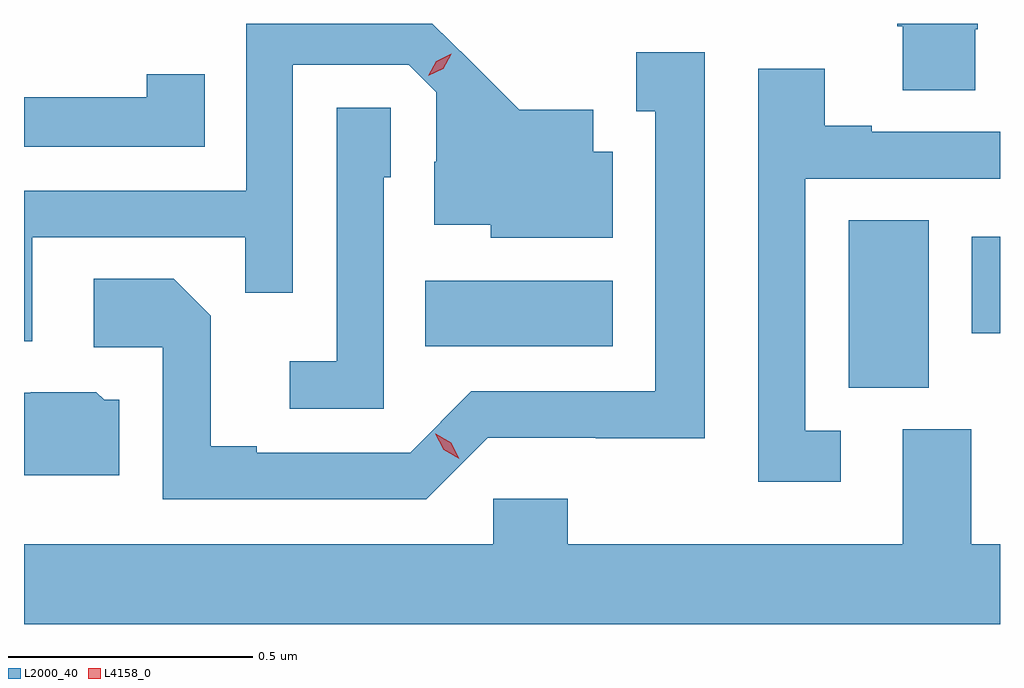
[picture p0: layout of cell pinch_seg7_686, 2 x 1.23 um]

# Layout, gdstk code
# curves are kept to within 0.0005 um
import gdstk
lib = gdstk.Library(unit=1e-6, precision=1e-09)
def R(c, l, rs):  # rectangles x0, y0, x1, y1
    for r in rs: c.add(gdstk.rectangle(r[:2], r[2:], *l))
def P(c, l, *ps):  # polygons
    for p in ps: c.add(gdstk.Polygon(p, *l))
L2000_40 = (2000, 40)
L4158_0 = (4158, 0)

pinch_seg7_686 = lib.new_cell('pinch_seg7_686')
R(pinch_seg7_686, L2000_40, [(137.792,1009.093,137.956,1009.436), (136.924,1009.178,137.308,1009.312), (138.044,1009.205,138.102,1009.402)])
P(pinch_seg7_686, L2000_40, [(138.051,1009.827),(138.056,1009.827),(138.056,1009.839),(137.891,1009.839),(137.891,1009.834),(137.903,1009.834),(137.903,1009.702),(138.051,1009.702)],
  [(136.119,1009.401),(136.555,1009.401),(136.555,1009.288),(136.653,1009.288),(136.653,1009.755),(136.89,1009.755),(136.947,1009.698),(136.947,1009.556),(136.943,1009.556),(136.943,1009.427),(137.058,1009.427),(137.058,1009.4),(137.308,1009.4),(137.308,1009.576),(137.269,1009.576),(137.269,1009.663),(137.117,1009.663),(136.939,1009.839),(136.557,1009.839),(136.557,1009.497),(136.102,1009.497),(136.102,1009.188),(136.119,1009.188)],
  [(137.052,1008.99),(137.274,1008.99),(137.274,1008.989),(137.497,1008.989),(137.497,1009.78),(137.357,1009.78),(137.357,1009.659),(137.396,1009.659),(137.396,1009.086),(137.019,1009.086),(136.893,1008.96),(136.579,1008.96),(136.579,1008.973),(136.485,1008.973),(136.485,1009.24),(136.409,1009.316),(136.245,1009.316),(136.245,1009.176),(136.386,1009.176),(136.386,1008.864),(136.926,1008.864)],
  [(137.776,1009.005),(137.703,1009.005),(137.703,1009.521),(138.102,1009.521),(138.102,1009.617),(137.839,1009.617),(137.839,1009.63),(137.743,1009.63),(137.743,1009.747),(137.607,1009.747),(137.607,1008.9),(137.776,1008.9)],
  [(136.472,1009.735),(136.354,1009.735),(136.354,1009.688),(136.102,1009.688),(136.102,1009.587),(136.472,1009.587)],
  [(136.839,1009.524),(136.854,1009.524),(136.854,1009.667),(136.743,1009.667),(136.743,1009.147),(136.647,1009.147),(136.647,1009.05),(136.839,1009.05)],
  [(136.297,1009.068),(136.266,1009.068),(136.25,1009.084),(136.116,1009.084),(136.116,1009.083),(136.102,1009.083),(136.102,1008.914),(136.297,1008.914)],
  [(138.102,1008.772),(138.043,1008.772),(138.043,1009.008),(137.903,1009.008),(137.903,1008.772),(137.216,1008.772),(137.216,1008.865),(137.064,1008.865),(137.064,1008.772),(136.102,1008.772),(136.102,1008.608),(138.102,1008.608)])
P(pinch_seg7_686, L4158_0, [(136.994,1008.947),(136.962,1008.966),(136.945,1008.999),(136.945,1008.999),(136.946,1008.999),(136.977,1008.98),(136.994,1008.947),(136.994,1008.947)],
  [(136.93,1009.732),(136.93,1009.732),(136.947,1009.762),(136.978,1009.777),(136.978,1009.777),(136.978,1009.776),(136.961,1009.747),(136.93,1009.732)])

lib.write_gds('pinch_seg7_686.gds')
